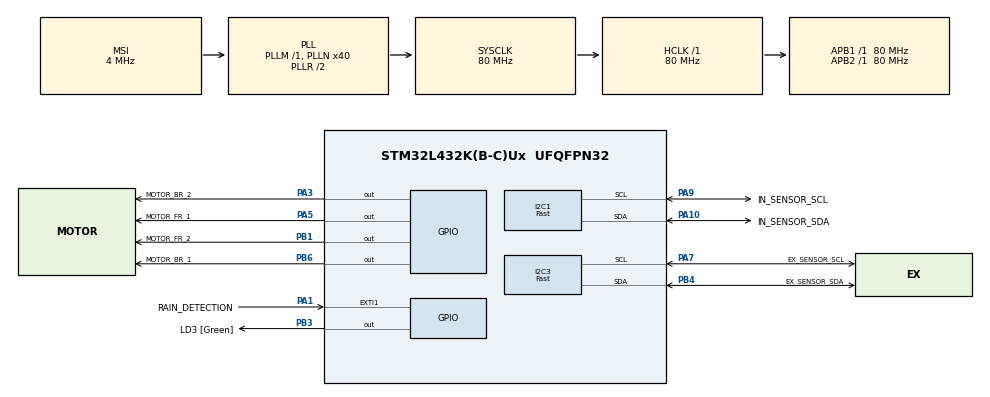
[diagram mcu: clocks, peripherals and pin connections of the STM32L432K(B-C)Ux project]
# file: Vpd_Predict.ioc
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I2C1.I2C_Coeff_DF=1
I2C1.I2C_Fall_Time=300
I2C1.I2C_Rise_Time=300
I2C1.I2C_Speed_Mode=I2C_Fast
I2C1.Timing=0x10F81430
I2C3.I2C_Coeff_DF=1
I2C3.I2C_Fall_Time=300
I2C3.I2C_Rise_Time=300
I2C3.I2C_Speed_Mode=I2C_Fast
I2C3.Timing=0x10F81430
IWDG.Prescaler=IWDG_PRESCALER_256
Mcu.Family=STM32L4
Mcu.Name=STM32L432K(B-C)Ux
Mcu.Package=UFQFPN32
NVIC.EXTI1_IRQn=true\:0\:0\:false\:false\:true\:true\:false\:true
NVIC.I2C1_ER_IRQn=true\:1\:0\:true\:false\:true\:true\:true\:true
NVIC.I2C1_EV_IRQn=true\:2\:0\:true\:false\:true\:true\:true\:true
NVIC.I2C3_ER_IRQn=true\:1\:0\:true\:false\:true\:true\:true\:true
NVIC.I2C3_EV_IRQn=true\:2\:0\:true\:false\:true\:true\:true\:true
NVIC.PriorityGroup=NVIC_PRIORITYGROUP_4
NVIC.RTC_WKUP_IRQn=true\:1\:0\:true\:false\:true\:true\:false\:true
NVIC.TIM1_BRK_TIM15_IRQn=true\:0\:0\:false\:false\:true\:true\:true\:true
NVIC.TIM1_UP_TIM16_IRQn=true\:2\:0\:true\:false\:true\:true\:true\:true
NVIC.TIM2_IRQn=true\:0\:0\:false\:false\:true\:true\:true\:true
NVIC.TIM6_DAC_IRQn=true\:2\:0\:true\:false\:true\:true\:true\:true
NVIC.TIM7_IRQn=true\:0\:0\:false\:false\:true\:true\:true\:true
PA0.GPIO_Label=MCO [High speed clock in]
PA0.Signal=RCC_CK_IN
PA1.GPIO_Label=RAIN_DETECTION
PA1.GPIO_ModeDefaultEXTI=GPIO_MODE_IT_RISING_FALLING
PA1.Signal=GPXTI1
PA10.GPIO_Label=IN_SENSOR_SDA
PA10.Mode=I2C
PA10.Signal=I2C1_SDA
PA13\ (JTMS-SWDIO).GPIO_Label=SWDIO
PA13\ (JTMS-SWDIO).Signal=SYS_JTMS-SWDIO
PA14\ (JTCK-SWCLK).GPIO_Label=SWCLK
PA14\ (JTCK-SWCLK).Signal=SYS_JTCK-SWCLK
PA15\ (JTDI).GPIO_Label=VCP_RX
PA15\ (JTDI).Signal=USART2_RX
PA2.GPIO_Label=VCP_TX
PA2.Signal=USART2_TX
PA3.GPIO_Label=MOTOR_BR_2
PA3.Signal=GPIO_Output
PA5.GPIO_Label=MOTOR_FR_1
PA5.Signal=GPIO_Output
PA7.GPIO_Label=EX_SENSOR_SCL
PA7.Mode=I2C
PA7.Signal=I2C3_SCL
PA9.GPIO_Label=IN_SENSOR_SCL
PA9.Mode=I2C
PA9.Signal=I2C1_SCL
PB1.GPIO_Label=MOTOR_FR_2
PB1.Signal=GPIO_Output
PB3\ (JTDO-TRACESWO).GPIO_Label=LD3 [Green]
PB3\ (JTDO-TRACESWO).Signal=GPIO_Output
PB4\ (NJTRST).GPIO_Label=EX_SENSOR_SDA
PB4\ (NJTRST).Mode=I2C
PB4\ (NJTRST).Signal=I2C3_SDA
PB6.GPIO_Label=MOTOR_BR_1
PB6.Signal=GPIO_Output
PC14-OSC32_IN\ (PC14).Signal=RCC_OSC32_IN
PC15-OSC32_OUT\ (PC15).Signal=RCC_OSC32_OUT
ProjectManager.HeapSize=0x800
ProjectManager.StackSize=0x800
ProjectManager.TargetToolchain=STM32CubeIDE
RCC.ADCFreq_Value=48000000
RCC.AHBFreq_Value=80000000
RCC.APB1Freq_Value=80000000
RCC.APB1TimFreq_Value=80000000
RCC.APB2Freq_Value=80000000
RCC.APB2TimFreq_Value=80000000
RCC.CortexFreq_Value=80000000
RCC.HCLKFreq_Value=80000000
RCC.HSE_VALUE=8000000
RCC.HSI16_VALUE=16000000
RCC.HSI48_VALUE=48000000
RCC.HSI_VALUE=16000000
RCC.LSE_VALUE=32768
RCC.MSI_VALUE=4000000
RCC.PLLMUL=RCC_PLLMUL_4
RCC.PLLN=40
RCC.PLLR=2
RCC.PLLSAI1N=24
RCC.SYSCLKFreq_VALUE=80000000
RCC.SYSCLKSource=RCC_SYSCLKSOURCE_PLLCLK
RCC.USBFreq_Value=48000000
RCC.VCOOutputFreq_Value=160000000
RTC.WakeUpClock=RTC_WAKEUPCLOCK_CK_SPRE_16BITS
RTC.WakeUpCounter=59
STMicroelectronics.X-CUBE-AI.10.2.1.ActivationBufferSizeList=5520
STMicroelectronics.X-CUBE-AI.10.2.1.ActivationBuffers=pool0
STMicroelectronics.X-CUBE-AI.10.2.1.ActivationNames=pool0
STMicroelectronics.X-CUBE-AI.10.2.1.ActivationSizes=AI_NETWORK_DATA_ACTIVATION_1_SIZE
STMicroelectronics.X-CUBE-AI.10.2.1.HeapSize=0x800
STMicroelectronics.X-CUBE-AI.10.2.1.InternalRamActivationBufferMaxSize=AI_NETWORK_DATA_ACTIVATIONS_SIZE
STMicroelectronics.X-CUBE-AI.10.2.1.LatestDirectoryUsed-3ce132d35c067eac49cffbb9c14765c31e98030f38cc1229ee8fc4eec5412139=C\:\\Users\\karma\\Desktop\\lstm
STMicroelectronics.X-CUBE-AI.10.2.1.MaximumNumberOfInputLayer=1
STMicroelectronics.X-CUBE-AI.10.2.1.MaximumNumberOfOutputLayer=1
STMicroelectronics.X-CUBE-AI.10.2.1.MaximumSizeOfInputLayer=1
STMicroelectronics.X-CUBE-AI.10.2.1.MaximumSizeOfOutputLayer=1
STMicroelectronics.X-CUBE-AI.10.2.1.ModelActualCompression-3ce132d35c067eac49cffbb9c14765c31e98030f38cc1229ee8fc4eec5412139=0.0
STMicroelectronics.X-CUBE-AI.10.2.1.ModelCompression-3ce132d35c067eac49cffbb9c14765c31e98030f38cc1229ee8fc4eec5412139=None
STMicroelectronics.X-CUBE-AI.10.2.1.ModelFlashOccupation-3ce132d35c067eac49cffbb9c14765c31e98030f38cc1229ee8fc4eec5412139=103076
STMicroelectronics.X-CUBE-AI.10.2.1.ModelHashList=3ce132d35c067eac49cffbb9c14765c31e98030f38cc1229ee8fc4eec5412139
STMicroelectronics.X-CUBE-AI.10.2.1.ModelKind-3ce132d35c067eac49cffbb9c14765c31e98030f38cc1229ee8fc4eec5412139=KERAS
STMicroelectronics.X-CUBE-AI.10.2.1.ModelMacc-3ce132d35c067eac49cffbb9c14765c31e98030f38cc1229ee8fc4eec5412139=902274
STMicroelectronics.X-CUBE-AI.10.2.1.ModelName-3ce132d35c067eac49cffbb9c14765c31e98030f38cc1229ee8fc4eec5412139=network
STMicroelectronics.X-CUBE-AI.10.2.1.ModelNameList=network
STMicroelectronics.X-CUBE-AI.10.2.1.ModelRamOccupation-3ce132d35c067eac49cffbb9c14765c31e98030f38cc1229ee8fc4eec5412139=5520
STMicroelectronics.X-CUBE-AI.10.2.1.ModelStructureFile-3ce132d35c067eac49cffbb9c14765c31e98030f38cc1229ee8fc4eec5412139=/C\:/Users/karma/Desktop/lstm/final_lstm.h5
STMicroelectronics.X-CUBE-AI.10.2.1.ModelType-3ce132d35c067eac49cffbb9c14765c31e98030f38cc1229ee8fc4eec5412139=STM32Cube.AI MCU runtime
STMicroelectronics.X-CUBE-AI.10.2.1.ReadyForCodeGeneration=true
STMicroelectronics.X-CUBE-AI.10.2.1.StackSize=0x800
STMicroelectronics.X-CUBE-AI.10.2.1.WorkingBufferStartAddrList=0xFFFFFFFF
STMicroelectronics.X-CUBE-AI.10.2.1.XAaCUBEAaAICcArtificialOoIntelligenceJjCore=true
STMicroelectronics.X-CUBE-AI.10.2.1.copyWeightToRam=false
STMicroelectronics.X-CUBE-AI.10.2.1.copyWeightToRam-3ce132d35c067eac49cffbb9c14765c31e98030f38cc1229ee8fc4eec5412139=false
STMicroelectronics.X-CUBE-AI.10.2.1.customLayerConfigEnabled=false
STMicroelectronics.X-CUBE-AI.10.2.1.customLayerConfigEnabled-3ce132d35c067eac49cffbb9c14765c31e98030f38cc1229ee8fc4eec5412139=false
STMicroelectronics.X-CUBE-AI.10.2.1.noOnnxIoTranspose=false
STMicroelectronics.X-CUBE-AI.10.2.1.noOnnxIoTranspose-3ce132d35c067eac49cffbb9c14765c31e98030f38cc1229ee8fc4eec5412139=false
STMicroelectronics.X-CUBE-AI.10.2.1.useInputAllocation=true
STMicroelectronics.X-CUBE-AI.10.2.1.useInputAllocation-3ce132d35c067eac49cffbb9c14765c31e98030f38cc1229ee8fc4eec5412139=true
STMicroelectronics.X-CUBE-AI.10.2.1.useOutputAllocation=true
STMicroelectronics.X-CUBE-AI.10.2.1.useOutputAllocation-3ce132d35c067eac49cffbb9c14765c31e98030f38cc1229ee8fc4eec5412139=true
TIM15.Period=20000-1
TIM15.Prescaler=40000-1
TIM16.Period=60000-1
TIM16.Prescaler=40000-1
TIM2.Period=0
TIM2.Prescaler=39999
TIM6.Period=49
TIM6.Prescaler=31999
TIM6.TIM_MasterOutputTrigger=TIM_TRGO_UPDATE
TIM7.Period=49
TIM7.Prescaler=31999
TIM7.TIM_MasterOutputTrigger=TIM_TRGO_UPDATE
VP_IWDG_VS_IWDG.Mode=IWDG_Activate
VP_RTC_VS_RTC_Activate.Mode=RTC_Enabled
VP_RTC_VS_RTC_Calendar.Mode=RTC_Calendar
VP_RTC_VS_RTC_WakeUp_intern.Mode=WakeUp
VP_STMicroelectronics.X-CUBE-AI_VS_ArtificialOoIntelligenceJjXAaCUBEAaAI_10.2.1.Mode=ArtificialOoIntelligenceJjXAaCUBEAaAI
VP_TIM15_VS_ClockSourceINT.Mode=Internal
VP_TIM16_VS_ClockSourceINT.Mode=Enable_Timer
VP_TIM2_VS_ClockSourceINT.Mode=Internal
VP_TIM2_VS_OPM.Mode=OPM_bit
VP_TIM6_VS_ClockSourceINT.Mode=Enable_Timer
VP_TIM6_VS_OPM.Mode=OPM_bit
VP_TIM7_VS_ClockSourceINT.Mode=Enable_Timer
VP_TIM7_VS_OPM.Mode=OPM_bit
board=NUCLEO-L432KC

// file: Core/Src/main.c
/* USER CODE BEGIN Header */
/**
  ******************************************************************************
  * @file           : main.c
  * @brief          : Main program body
  ******************************************************************************
  * @attention
  *
  * Copyright (c) 2026 STMicroelectronics.
  * All rights reserved.
  *
  * This software is licensed under terms that can be found in the LICENSE file
  * in the root directory of this software component.
  * If no LICENSE file comes with this software, it is provided AS-IS.
  *
  ******************************************************************************
  */
/* USER CODE END Header */
#include "main.h"
#include "i2c.h"
#include "iwdg.h"
#include "rtc.h"
#include "tim.h"
#include "gpio.h"

/* USER CODE BEGIN Includes */
#include "network.h"
#include <math.h>
#include "ai_platform.h"
#include "network_data.h"
#include "sensor.h"
#include "string.h"
#include "stm32l4xx_it.h"
/* USER CODE END Includes */

/* USER CODE BEGIN PTD */
typedef enum {
	AI_OUT_TEMP,
	AI_OUT_HUMI,
}AI_PREDICT_OUTPUT_DATA;

typedef union {
	struct {
		float ex_temp;
		float ex_humi;
		float in_temp;
		float in_humi;
		float hour_sin;
		float hour_cos;
		float month_sin;
		float month_cos;
	};

	float feature[AI_NETWORK_IN_1_CHANNEL];
}AI_INPUT_DATA;

typedef enum {
	APP_OK = 0,
	APP_ERR
}APP_STATUS;

typedef enum {
	NORMAL,
	PRE_IDEAL_CUR_MAX_OUT,
	PRE_IDEAL_CUR_MIN_OUT,
	PRE_MAX_OUT_CUR_INC,
	PRE_MAX_OUT_CUR_DEC,
	PRE_MIN_OUT_CUR_INC,
	PRE_MIN_OUT_CUR_DEC,
	PRE_MAX_OUT_CUR_NMV,
	PRE_MIN_OUT_CUR_NMV
}VPD_STATUS;

APP_STATUS app_status;
ai_error err;
volatile SYSTEM_STATUS system_status = RAIN_STOP;
AI_INPUT_DATA ai_input_data;
VPD_STATUS vpd_status;
/* USER CODE END PTD */

/* USER CODE BEGIN PD */
#define VPD_IDEAL_MIN     0.8f
#define VPD_IDEAL_MAX     1.2f
#define VPD_EPSILON		  0.1f

#define IN_SENSOR_TIMEOUT_MS	500U
#define EX_SENSOR_TIMEOUT_MS	500U
#define MAX_CYCLE_FAILS        	3U

//x_scaler value
#define X_EX_TEMP			0.02136752f
#define	X_EX_HUMI			0.01136364f
#define	X_IN_TEMP			0.03030303f
#define	X_IN_HUMI			0.01333333f
#define	X_HOUR_SIN			0.5f
#define	X_HOUR_COS			0.5f
#define	X_MONTH_SIN			0.5f
#define	X_MONTH_COS			0.66666667f

//y_scaler value
#define	Y_IN_TEMP			0.03030303f
#define	Y_IN_HUMI			0.01333333f

//x_scaler offset value
#define X_EX_TEMP_OFFSET			0.24786325f
#define	X_EX_HUMI_OFFSET			-0.125f
#define	X_IN_TEMP_OFFSET			-0.12121212f
#define	X_IN_HUMI_OFFSET			-0.33333333f
#define	X_HOUR_SIN_OFFSET			0.5f
#define	X_HOUR_COS_OFFSET			0.5f
#define	X_MONTH_SIN_OFFSET			0.5f
#define	X_MONTH_COS_OFFSET			0.66666667f

//y_scaler offset value
#define	Y_IN_TEMP_OFFSET			-0.12121212f
#define	Y_IN_HUMI_OFFSET			-0.33333333f

//limit temperature value
#define MAX_LIMIT_TEMP				35
#define MIN_LIMIT_TEMP				5

/* USER CODE END PD */

/* USER CODE BEGIN PV */
float ai_output_data[AI_NETWORK_OUT_1_SIZE];

ai_u8 activations[AI_NETWORK_DATA_ACTIVATIONS_SIZE];

ai_buffer *ai_input;
ai_buffer *ai_output;

static uint8_t sequence_initialized = 0;

ai_handle network;

static AI_INPUT_DATA sequence[AI_NETWORK_IN_1_HEIGHT];

ai_u32	ai_err_code = 0x00;
ai_u32	ai_err_type = 0x00;

float fvpd = 0U;
float cvpd = 0U;
float pvpd = 0U;

float hour_sin;
float hour_cos;

float month_sin;
float month_cos;

float vpd_calculated = 0U;

static uint32_t cycle_fail_count = 0U;

static const float inital_input[AI_NETWORK_IN_1_SIZE] = {
    0.82478629f, 0.86363668f, 0.60606060f, 0.91999969f, 0.50000000f, 1.00000000f, 0.00000000f, 0.33333333f,
    0.82692304f, 0.85227304f, 0.60606060f, 0.91999969f, 0.62940952f, 0.98296291f, 0.00000000f, 0.33333333f,
    0.81837603f, 0.86363668f, 0.60606060f, 0.93333302f, 0.75000000f, 0.93301270f, 0.00000000f, 0.33333333f,
    0.80128202f, 0.93181852f, 0.60606060f, 0.93333302f, 0.85355339f, 0.85355339f, 0.00000000f, 0.33333333f,
    0.80341877f, 0.89772760f, 0.60606060f, 0.94666635f, 0.93301270f, 0.75000000f, 0.00000000f, 0.33333333f,
    0.79914527f, 0.89772760f, 0.57575757f, 0.94666635f, 0.98296291f, 0.62940952f, 0.00000000f, 0.33333333f,
    0.78846151f, 0.93181852f, 0.57575757f, 0.93333302f, 1.00000000f, 0.50000000f, 0.00000000f, 0.33333333f,
    0.79700851f, 0.92045488f, 0.66666666f, 0.83999971f, 0.98296291f, 0.37059048f, 0.00000000f, 0.33333333f,

    0.82692304f, 0.82954576f, 0.75757575f, 0.67999975f, 0.93301270f, 0.25000000f, 0.00000000f, 0.33333333f,
    0.86538458f, 0.75000028f, 0.87878787f, 0.46666647f, 0.85355339f, 0.14644661f, 0.00000000f, 0.33333333f,
    0.90598287f, 0.64772752f, 0.90909090f, 0.38666649f, 0.75000000f, 0.06698730f, 0.00000000f, 0.33333333f,
    0.93589739f, 0.56818204f, 0.90909090f, 0.39999982f, 0.62940952f, 0.01703709f, 0.00000000f, 0.33333333f,
    0.96794867f, 0.51136384f, 0.93939393f, 0.33333317f, 0.50000000f, 0.00000000f, 0.00000000f, 0.33333333f,
    0.97649568f, 0.50000020f, 0.96969696f, 0.30666651f, 0.37059048f, 0.01703709f, 0.00000000f, 0.33333333f,
    0.98076919f, 0.53409112f, 0.96969696f, 0.31999984f, 0.25000000f, 0.06698730f, 0.00000000f, 0.33333333f,
    0.97435893f, 0.53409112f, 0.96969696f, 0.33333317f, 0.14644661f, 0.14644661f, 0.00000000f, 0.33333333f,

    0.96153842f, 0.55681840f, 0.93939393f, 0.34666650f, 0.06698730f, 0.25000000f, 0.00000000f, 0.33333333f,
    0.98076919f, 0.51136384f, 0.84848484f, 0.50666646f, 0.01703709f, 0.37059048f, 0.00000000f, 0.33333333f,
    0.85683757f, 0.79545484f, 0.78787878f, 0.66666642f, 0.00000000f, 0.50000000f, 0.00000000f, 0.33333333f,
    0.88675210f, 0.77272756f, 0.75757575f, 0.73333307f, 0.01703709f, 0.62940952f, 0.00000000f, 0.33333333f,
    0.89743586f, 0.70454572f, 0.72727272f, 0.74666640f, 0.06698730f, 0.75000000f, 0.00000000f, 0.33333333f,
    0.90170936f, 0.65909116f, 0.72727272f, 0.69333308f, 0.14644661f, 0.85355339f, 0.00000000f, 0.33333333f,
    0.89529911f, 0.64772752f, 0.69696969f, 0.71999974f, 0.25000000f, 0.93301270f, 0.00000000f, 0.33333333f,
    0.87393159f, 0.68181844f, 0.66666666f, 0.78666639f, 0.37059048f, 0.98296291f, 0.00000000f, 0.33333333f,

    0.87393159f, 0.64772752f, 0.66666666f, 0.82666638f, 0.50000000f, 1.00000000f, 0.00000000f, 0.33333333f,
    0.85470082f, 0.69318208f, 0.63636363f, 0.82666638f, 0.62940952f, 0.98296291f, 0.00000000f, 0.33333333f,
    0.84401706f, 0.71590936f, 0.63636363f, 0.82666638f, 0.75000000f, 0.93301270f, 0.00000000f, 0.33333333f,
    0.84401706f, 0.69318208f, 0.63636363f, 0.82666638f, 0.85355339f, 0.85355339f, 0.00000000f, 0.33333333f,
    0.83974355f, 0.70454572f, 0.60606060f, 0.85333304f, 0.93301270f, 0.75000000f, 0.00000000f, 0.33333333f,
    0.83760680f, 0.69318208f, 0.60606060f, 0.85333304f, 0.98296291f, 0.62940952f, 0.00000000f, 0.33333333f,
    0.81837603f, 0.73863664f, 0.60606060f, 0.85333304f, 1.00000000f, 0.50000000f, 0.00000000f, 0.33333333f,
    0.83119655f, 0.71590936f, 0.63636363f, 0.83999971f, 0.98296291f, 0.37059048f, 0.00000000f, 0.33333333f,

    0.84401706f, 0.69318208f, 0.69696969f, 0.77333306f, 0.93301270f, 0.25000000f, 0.00000000f, 0.33333333f,
    0.87393159f, 0.68181844f, 0.75757575f, 0.62666643f, 0.85355339f, 0.14644661f, 0.00000000f, 0.33333333f,
    0.89529911f, 0.62500024f, 0.81818181f, 0.50666646f, 0.75000000f, 0.06698730f, 0.00000000f, 0.33333333f,
    0.93376064f, 0.60227296f, 0.81818181f, 0.53333312f, 0.62940952f, 0.01703709f, 0.00000000f, 0.33333333f,
    0.93162389f, 0.62500024f, 0.84848484f, 0.55999978f, 0.50000000f, 0.00000000f, 0.00000000f, 0.33333333f,
    0.93162389f, 0.59090932f, 0.84848484f, 0.50666646f, 0.37059048f, 0.01703709f, 0.00000000f, 0.33333333f,
    0.91666663f, 0.64772752f, 0.81818181f, 0.55999978f, 0.25000000f, 0.06698730f, 0.00000000f, 0.33333333f,
    0.91239312f, 0.65909116f, 0.81818181f, 0.58666644f, 0.14644661f, 0.14644661f, 0.00000000f, 0.33333333f,

    0.91452987f, 0.65909116f, 0.81818181f, 0.57333311f, 0.06698730f, 0.25000000f, 0.00000000f, 0.33333333f,
    0.91025637f, 0.67045480f, 0.78787878f, 0.65333309f, 0.01703709f, 0.37059048f, 0.00000000f, 0.33333333f,
    0.89316235f, 0.70454572f, 0.75757575f, 0.77333306f, 0.00000000f, 0.50000000f, 0.00000000f, 0.33333333f,
    0.88675210f, 0.72727300f, 0.72727272f, 0.81333305f, 0.01703709f, 0.62940952f, 0.00000000f, 0.33333333f,
    0.88675210f, 0.73863664f, 0.69696969f, 0.83999971f, 0.06698730f, 0.75000000f, 0.00000000f, 0.33333333f,
    0.87606834f, 0.77272756f, 0.69696969f, 0.85333304f, 0.14644661f, 0.85355339f, 0.00000000f, 0.33333333f,
    0.87393159f, 0.78409120f, 0.66666666f, 0.86666637f, 0.25000000f, 0.93301270f, 0.00000000f, 0.33333333f,
    0.86538458f, 0.78409120f, 0.66666666f, 0.86666637f, 0.37059048f, 0.98296291f, 0.00000000f, 0.33333333f,
};

/* USER CODE END PV */

void SystemClock_Config(void);
/* USER CODE BEGIN PFP */
static void AI_Init(void);
static void AI_Get_InOutputs(void);
static void AI_Run(void);
static void AI_Update_Sequence(AI_INPUT_DATA *new_data);
static void AI_Init_Sequence(void);
float Vpd_Calculator(float temperature, float humidity);
VPD_STATUS Get_Vpd_State(float vpd);
static void Y_Inverse_Scale(float *scaled_value);
static void X_Scale(AI_INPUT_DATA *data);
static void RTC_Time_scale(AI_INPUT_DATA *data);
static void Sensor_Data_to_Ai_Data(AI_INPUT_DATA *sensor_data);
static uint8_t RTC_Is_Hour_Start(void);

/*safe functions */
static APP_STATUS Read_In_Sensor_Safe(void);
static APP_STATUS Read_Ex_Sensor_Safe(void);
/* USER CODE END PFP */

int main(void)
{

  /* MCU Configuration--------------------------------------------------------*/

  /* Reset of all peripherals, Initializes the Flash interface and the Systick. */
  HAL_Init();

  /* Configure the system clock */
  SystemClock_Config();

  /* Initialize all configured peripherals */
  MX_GPIO_Init();
  MX_RTC_Init();
  MX_I2C1_Init();
  MX_TIM6_Init();
  MX_I2C3_Init();
  MX_TIM7_Init();
  MX_IWDG_Init();
  MX_TIM16_Init();
  MX_TIM15_Init();
  MX_TIM2_Init();
  /* USER CODE BEGIN 2 */
  AI_Init();
  AI_Get_InOutputs();
  HAL_TIM_Base_Start_IT(&htim16);
  HAL_TIM_Base_Start_IT(&htim15);

  /* USER CODE END 2 */

  /* Infinite loop */
  /* USER CODE BEGIN WHILE */
  while (1)
    {
	  while(rtc_wakeup_event == 0)
	  {
		  __WFI();
	  }

	  if (system_status == RAIN_DETECTED)
	  {
		  /* in_sensor_read begin */
		  for(uint8_t retry = 0U; retry < MAX_CYCLE_FAILS; retry ++)
		  {
			  app_status = Read_In_Sensor_Safe();

			  if(app_status == APP_ERR)
			  {
				  cycle_fail_count ++;
			  }else
			  {
				  cycle_fail_count = 0U;
				  break;
			  }

		  }

		  if(cycle_fail_count == MAX_CYCLE_FAILS)
		  {
			  NVIC_SystemReset();
		  }
		  /* in_sensor_read end */

		  /* ex_sensor_read begin */
		  for(uint8_t retry = 0U; retry < MAX_CYCLE_FAILS; retry ++)
		  {
			  app_status = Read_Ex_Sensor_Safe();

			  if(app_status == APP_ERR)
			  {
				  cycle_fail_count ++;
			  }else
			  {
				  cycle_fail_count = 0U;
				  break;
			  }

		  }

		  if(cycle_fail_count == MAX_CYCLE_FAILS)
		  {
			  NVIC_SystemReset();
		  }
		  /* ex_sensor_read end */

		  /* measuring currnet vpd */
		  if(vpd_calculated == 0)
		  {
			  cvpd = Vpd_Calculator(in_temperature, in_humidity);
			  pvpd = cvpd;

			  vpd_calculated = 1;
		  }else
		  {
			  pvpd = cvpd;
			  cvpd = Vpd_Calculator(in_temperature, in_humidity);
		  }
		  /* measuring currnet vpd */

		  if(RTC_Is_Hour_Start())
		  {
		  /* get_sensor_data from in,ex temperature and humidity, current time begin */
		  Sensor_Data_to_Ai_Data(&ai_input_data);
		  /* get_sensor_data from in,ex temperature and humidity, current time end */

		  /* ai_update_sequence begin*/
		  AI_Update_Sequence(&ai_input_data);
		  /* ai_update_sequence end */

		  /* ai_run begin */
		  AI_Run();

		  Y_Inverse_Scale(ai_output_data);

		  fvpd = Vpd_Calculator(ai_output_data[0], ai_output_data[1]);
		  /* ai_run end */
		  }

		  /* vpd status update */

		  if(fvpd - VPD_IDEAL_MAX > VPD_EPSILON)
		  {
			  if(cvpd - pvpd > VPD_EPSILON)
			  {
				  vpd_status = PRE_MAX_OUT_CUR_INC;
			  }else if(cvpd - pvpd < -VPD_EPSILON)
			  {
				  vpd_status = PRE_MAX_OUT_CUR_DEC;
			  }else
			  {
				  vpd_status = PRE_MAX_OUT_CUR_NMV;
			  }
		  }else if(fvpd - VPD_IDEAL_MIN < -VPD_EPSILON)
		  {
			if(cvpd - pvpd > VPD_EPSILON)
			{
				  vpd_status = PRE_MIN_OUT_CUR_INC;
			}else if(cvpd - pvpd < -VPD_EPSILON)
			{
				  vpd_status = PRE_MIN_OUT_CUR_DEC;
			}else
			{
				  vpd_status = PRE_MIN_OUT_CUR_NMV;
			}
		  }else
		  {
			  if(cvpd > VPD_IDEAL_MAX)
			  {
				  vpd_status = PRE_IDEAL_CUR_MAX_OUT;
			  }else if(cvpd < VPD_IDEAL_MIN)
			  {
				  vpd_status = PRE_IDEAL_CUR_MIN_OUT;
			  }else
			  {
				  vpd_status = NORMAL;
			  }
		  }
		  /* vpd status update */
		  Motor_Emergency_Close();
	  }else
	  {
		  /* in_sensor_read begin */
		  for(uint8_t retry = 0U; retry < MAX_CYCLE_FAILS; retry ++)
		  {
			  app_status = Read_In_Sensor_Safe();

			  if(app_status == APP_ERR)
			  {
				  cycle_fail_count ++;
			  }else
			  {
				  cycle_fail_count = 0U;
				  break;
			  }

		  }

		  if(cycle_fail_count == MAX_CYCLE_FAILS)
		  {
			  NVIC_SystemReset();
		  }
		  /* in_sensor_read end */

		  /* ex_sensor_read begin */
		  for(uint8_t retry = 0U; retry < MAX_CYCLE_FAILS; retry ++)
		  {
			  app_status = Read_Ex_Sensor_Safe();

			  if(app_status == APP_ERR)
			  {
				  cycle_fail_count ++;
			  }else
			  {
				  cycle_fail_count = 0U;
				  break;
			  }

		  }

		  if(cycle_fail_count == MAX_CYCLE_FAILS)
		  {
			  NVIC_SystemReset();
		  }
		  /* ex_sensor_read end */

		  /* measuring currnet vpd */
		  if(vpd_calculated == 0)
		  {
			  cvpd = Vpd_Calculator(in_temperature, in_humidity);
			  pvpd = cvpd;

			  vpd_calculated = 1;
		  }else
		  {
			  pvpd = cvpd;
			  cvpd = Vpd_Calculator(in_temperature, in_humidity);
		  }
		  /* measuring currnet vpd */

		  /* emergency(over limit temperature) motor control begin */
		  if(in_temperature > MAX_LIMIT_TEMP)
		  {
			  Motor_Emergency_Open();
		  }else if(in_temperature < MIN_LIMIT_TEMP)
		  {
			  Motor_Emergency_Close();
		  }
		  /* emergency(over limit temperature) motor control end */

		  if(RTC_Is_Hour_Start())
		  {
		  /* get_sensor_data from in,ex temperature and humidity, current time begin */
		  Sensor_Data_to_Ai_Data(&ai_input_data);
		  /* get_sensor_data from in,ex temperature and humidity, current time end */

		  /* ai_update_sequence begin*/
		  AI_Update_Sequence(&ai_input_data);
		  /* ai_update_sequence end */

		  /* ai_run begin */
		  AI_Run();

		  Y_Inverse_Scale(ai_output_data);

		  fvpd = Vpd_Calculator(ai_output_data[0], ai_output_data[1]);
		  /* ai_run end */
		  }

		  /* vpd status update */

		  if(fvpd - VPD_IDEAL_MAX > VPD_EPSILON)
		  {
			  if(cvpd - pvpd > VPD_EPSILON)
			  {
				  vpd_status = PRE_MAX_OUT_CUR_INC;
			  }else if(cvpd - pvpd < -VPD_EPSILON)
			  {
				  vpd_status = PRE_MAX_OUT_CUR_DEC;
			  }else
			  {
				  vpd_status = PRE_MAX_OUT_CUR_NMV;
			  }
		  }else if(fvpd - VPD_IDEAL_MIN < -VPD_EPSILON)
		  {
			  if(cvpd - pvpd > VPD_EPSILON)
			  {
				  vpd_status = PRE_MIN_OUT_CUR_INC;
			  }else if(cvpd - pvpd < -VPD_EPSILON)
			  {
				  vpd_status = PRE_MIN_OUT_CUR_DEC;
			  }else
			  {
				  vpd_status = PRE_MIN_OUT_CUR_NMV;
			  }
		  }else
		  {
			  if(cvpd > VPD_IDEAL_MAX)
			  {
				  vpd_status = PRE_IDEAL_CUR_MAX_OUT;
			  }else if(cvpd < VPD_IDEAL_MIN)
			  {
				  vpd_status = PRE_IDEAL_CUR_MIN_OUT;
			  }else
			  {
				  vpd_status = NORMAL;
			  }
		  }
		  /* vpd status update */

		  /* motor logic begin */
		  switch(vpd_status) {
		  	  case NORMAL:
		  		  break;

		  	  case PRE_IDEAL_CUR_MAX_OUT:
		  		  Motor_Backward_Rotation();
		  		  break;

		  	  case PRE_IDEAL_CUR_MIN_OUT:
		  		  Motor_Forward_Rotation();
		  		  break;

		  	  case PRE_MAX_OUT_CUR_INC:
		  		  Motor_Backward_Rotation();
		  		  break;

		  	  case PRE_MAX_OUT_CUR_DEC:
		  		  Motor_Backward_Rotation();
		  		  break;

		  	  case PRE_MAX_OUT_CUR_NMV:
		  		  Motor_Backward_Rotation();
		  		  break;

		  	  case PRE_MIN_OUT_CUR_INC:
		  		  Motor_Forward_Rotation();
		  		  break;

		  	  case PRE_MIN_OUT_CUR_DEC:
		  		  Motor_Forward_Rotation();
		  		  break;

		  	  case PRE_MIN_OUT_CUR_NMV:
		  		  Motor_Forward_Rotation();
		  		  break;

		  	  default:
		  		  break;
		  }
		  /* motor logic end */

	  }
    /* USER CODE END WHILE */

    /* USER CODE BEGIN 3 */
	  rtc_wakeup_event = 0U;
    }
  /* USER CODE END 3 */
}

void SystemClock_Config(void)
{
  RCC_OscInitTypeDef RCC_OscInitStruct = {0};
  RCC_ClkInitTypeDef RCC_ClkInitStruct = {0};

  /** Configure the main internal regulator output voltage
  */
  if (HAL_PWREx_ControlVoltageScaling(PWR_REGULATOR_VOLTAGE_SCALE1) != HAL_OK)
  {
    Error_Handler();
  }

  /** Initializes the RCC Oscillators according to the specified parameters
  * in the RCC_OscInitTypeDef structure.
  */
  RCC_OscInitStruct.OscillatorType = RCC_OSCILLATORTYPE_LSI|RCC_OSCILLATORTYPE_MSI;
  RCC_OscInitStruct.LSIState = RCC_LSI_ON;
  RCC_OscInitStruct.MSIState = RCC_MSI_ON;
  RCC_OscInitStruct.MSICalibrationValue = 0;
  RCC_OscInitStruct.MSIClockRange = RCC_MSIRANGE_6;
  RCC_OscInitStruct.PLL.PLLState = RCC_PLL_ON;
  RCC_OscInitStruct.PLL.PLLSource = RCC_PLLSOURCE_MSI;
  RCC_OscInitStruct.PLL.PLLM = 1;
  RCC_OscInitStruct.PLL.PLLN = 40;
  RCC_OscInitStruct.PLL.PLLP = RCC_PLLP_DIV7;
  RCC_OscInitStruct.PLL.PLLQ = RCC_PLLQ_DIV2;
  RCC_OscInitStruct.PLL.PLLR = 2;
  if (HAL_RCC_OscConfig(&RCC_OscInitStruct) != HAL_OK)
  {
    Error_Handler();
  }

  /** Initializes the CPU, AHB and APB buses clocks
  */
  RCC_ClkInitStruct.ClockType = RCC_CLOCKTYPE_HCLK|RCC_CLOCKTYPE_SYSCLK
                              |RCC_CLOCKTYPE_PCLK1|RCC_CLOCKTYPE_PCLK2;
  RCC_ClkInitStruct.SYSCLKSource = RCC_SYSCLKSOURCE_PLLCLK;
  RCC_ClkInitStruct.AHBCLKDivider = RCC_SYSCLK_DIV1;
  RCC_ClkInitStruct.APB1CLKDivider = RCC_HCLK_DIV1;
  RCC_ClkInitStruct.APB2CLKDivider = RCC_HCLK_DIV1;

  if (HAL_RCC_ClockConfig(&RCC_ClkInitStruct, FLASH_LATENCY_4) != HAL_OK)
  {
    Error_Handler();
  }
}

/* USER CODE BEGIN 4 */
float Vpd_Calculator(float temperature, float humidity) {
    float svp = 0.6108f * expf((17.27f * temperature) / (temperature + 237.3f));
    float vpd = svp * (1.0f - humidity / 100.0f);
    return vpd;
}

static void AI_Init(void) {
	ai_handle act_addr[] = { AI_HANDLE_PTR(activations) };

	err = ai_network_create_and_init(&network, act_addr, NULL);

	/* error debuging */
	if(err.type != AI_ERROR_NONE)
	{
		/* add error management code begin */

		/* add error management code finish*/
		Error_Handler();
	}
}

static void AI_Get_InOutputs(void) {
	ai_input = ai_network_inputs_get(network, NULL);
	ai_output = ai_network_outputs_get(network, NULL);

	ai_input[0].data = AI_HANDLE_PTR(sequence);
	ai_output[0].data = AI_HANDLE_PTR(ai_output_data);
}

static void AI_Run(void) {
	ai_i32 batch;

	batch = ai_network_run(network, ai_input, ai_output);

	if(batch != 1) {
		err = ai_network_get_error(network);
		/* error management code begin */
		ai_err_code = err.code;
		ai_err_type = err.type;
		/* error management code finish */
		Error_Handler();
	}
}

static void AI_Update_Sequence(AI_INPUT_DATA *new_data)
{

	if(sequence_initialized == 0)
	{
		AI_Init_Sequence();
		return;
	}

	if(new_data == NULL)
	{
	    return;
	}

	X_Scale(new_data);

	for(int i = 0; i < AI_NETWORK_IN_1_HEIGHT - 1; i++)
	{
		sequence[i] = sequence[i + 1];
	}

	sequence[AI_NETWORK_IN_1_HEIGHT - 1] = *new_data;

}

static void AI_Init_Sequence(void)
{
	memcpy(sequence ,inital_input, sizeof(inital_input));

	sequence_initialized = 1;
}

static void Y_Inverse_Scale(float *scaled_value) {
	scaled_value[0] = (scaled_value[0] - Y_IN_TEMP_OFFSET) / Y_IN_TEMP;
	scaled_value[1] = (scaled_value[1] - Y_IN_HUMI_OFFSET) / Y_IN_HUMI;
}

static void X_Scale(AI_INPUT_DATA *data) {
    data->ex_temp = data->ex_temp * X_EX_TEMP + X_EX_TEMP_OFFSET;

    data->ex_humi = data->ex_humi * X_EX_HUMI + X_EX_HUMI_OFFSET;

    data->in_temp = data->in_temp * X_IN_TEMP + X_IN_TEMP_OFFSET;

    data->in_humi = data->in_humi * X_IN_HUMI + X_IN_HUMI_OFFSET;

    data->hour_sin = data->hour_sin * X_HOUR_SIN + X_HOUR_SIN_OFFSET;

    data->hour_cos = data->hour_cos * X_HOUR_COS + X_HOUR_COS_OFFSET;

    data->month_sin = data->month_sin * X_MONTH_SIN + X_MONTH_SIN_OFFSET;

    data->month_cos = data->month_cos * X_MONTH_COS + X_MONTH_COS_OFFSET;

}

static void RTC_Time_scale(AI_INPUT_DATA *data) {

	RTC_TimeTypeDef sTime;
	RTC_DateTypeDef sDate;

	HAL_RTC_GetTime(&hrtc, &sTime, RTC_FORMAT_BIN);
	HAL_RTC_GetDate(&hrtc, &sDate, RTC_FORMAT_BIN);

    data->hour_sin =
        sinf(2.0f * M_PI * (float)sTime.Hours / 24.0f);

    data->hour_cos =
        cosf(2.0f * M_PI * (float)sTime.Hours / 24.0f);

    data->month_sin =
        sinf(2.0f * M_PI * (float)sDate.Month / 12.0f);

    data->month_cos =
        cosf(2.0f * M_PI * (float)sDate.Month / 12.0f);

}

/* safe functions begin */
static APP_STATUS Read_In_Sensor_Safe(void) {

	uint32_t current = HAL_GetTick();

	in_sensor_rx_ready = 0U;

	if (In_Sensor_Read() != HAL_OK)
	{
		return APP_ERR;
	}

	while((in_sensor_rx_ready == 0U) && (sensor_state != SENSOR_STATE_IDLE) )
	{
		__WFI();

		if(i2c_error_event || (HAL_GetTick() - current > IN_SENSOR_TIMEOUT_MS))
		{
			 i2c_error_event = 0U;
			 sensor_state = SENSOR_STATE_IDLE;
			 return APP_ERR;
		}
	}
	return APP_OK;
}

static APP_STATUS Read_Ex_Sensor_Safe(void) {
	uint32_t current = HAL_GetTick();

	ex_sensor_rx_ready = 0U;

	if (Ex_Sensor_Read() != HAL_OK)
	{
		return APP_ERR;
	}

	while((ex_sensor_rx_ready == 0U) && (sensor_state != SENSOR_STATE_IDLE))
	{
		__WFI();

		if(i2c_error_event || (HAL_GetTick() - current > EX_SENSOR_TIMEOUT_MS))
		{
			i2c_error_event = 0U;
			sensor_state = SENSOR_STATE_IDLE;
			return APP_ERR;
		}
	}
	return APP_OK;

}

static void Sensor_Data_to_Ai_Data(AI_INPUT_DATA *sensor_data)
{
	ai_input_data.in_temp = in_temperature;
	ai_input_data.in_humi = in_humidity;
	ai_input_data.ex_temp = ex_temperature;
	ai_input_data.ex_humi = ex_humidity;

	RTC_Time_scale(&ai_input_data);
}

static uint8_t RTC_Is_Hour_Start(void)
{
    RTC_TimeTypeDef sTime;

    HAL_RTC_GetTime(&hrtc, &sTime, RTC_FORMAT_BIN);

    return (sTime.Minutes == 0U);
}

/* USER CODE END 4 */

void Error_Handler(void)
{
  __disable_irq();
  while (1)
  {
  }
}
